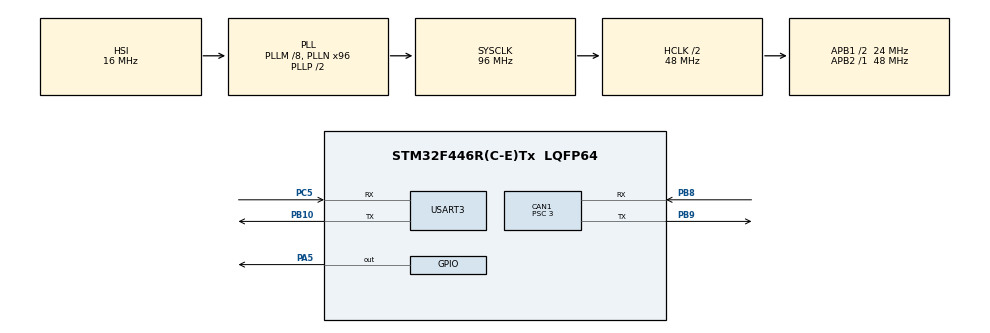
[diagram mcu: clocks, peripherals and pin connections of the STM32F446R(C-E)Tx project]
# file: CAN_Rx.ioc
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CAN1.ABOM=ENABLE
CAN1.AWUM=ENABLE
CAN1.BS1=CAN_BS1_13TQ
CAN1.BS2=CAN_BS2_2TQ
CAN1.CalculateBaudRate=500000
CAN1.CalculateTimeBit=2000
CAN1.CalculateTimeQuantum=125.0
CAN1.NART=ENABLE
CAN1.Prescaler=3
CAN1.TXFP=ENABLE
Mcu.Family=STM32F4
Mcu.Name=STM32F446R(C-E)Tx
Mcu.Package=LQFP64
NVIC.CAN1_RX0_IRQn=true\:0\:0\:false\:false\:true\:true\:true\:true
NVIC.PriorityGroup=NVIC_PRIORITYGROUP_0
PA2.Signal=USART2_TX
PA3.Signal=USART2_RX
PA5.Signal=GPIO_Output
PB10.Mode=Asynchronous
PB10.Signal=USART3_TX
PB8.Mode=CAN_Activate
PB8.Signal=CAN1_RX
PB9.Mode=CAN_Activate
PB9.Signal=CAN1_TX
PC5.Mode=Asynchronous
PC5.Signal=USART3_RX
PH0-OSC_IN.Mode=HSE-External-Oscillator
PH0-OSC_IN.Signal=RCC_OSC_IN
PH1-OSC_OUT.Mode=HSE-External-Oscillator
PH1-OSC_OUT.Signal=RCC_OSC_OUT
ProjectManager.HeapSize=0x200
ProjectManager.StackSize=0x400
ProjectManager.TargetToolchain=STM32CubeIDE
RCC.48MHZClocksFreq_Value=84000000
RCC.AHBCLKDivider=RCC_SYSCLK_DIV2
RCC.AHBFreq_Value=48000000
RCC.APB1CLKDivider=RCC_HCLK_DIV2
RCC.APB1Freq_Value=24000000
RCC.APB1TimFreq_Value=48000000
RCC.APB2Freq_Value=48000000
RCC.APB2TimFreq_Value=48000000
RCC.CortexFreq_Value=48000000
RCC.FLatency-AdvancedSettings=FLASH_LATENCY_1
RCC.HCLKFreq_Value=48000000
RCC.HSE_VALUE=8000000
RCC.HSI_VALUE=16000000
RCC.PLLM=8
RCC.PLLN=96
RCC.SYSCLKFreq_VALUE=96000000
RCC.SYSCLKSource=RCC_SYSCLKSOURCE_PLLCLK
RCC.USBFreq_Value=96000000
RCC.VCOOutputFreq_Value=192000000
USART3.VirtualMode=VM_ASYNC
board=NUCLEO-F446RE

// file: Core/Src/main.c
/* USER CODE BEGIN Header */
/**
  ******************************************************************************
  * @file           : main.c
  * @brief          : Main program body
  ******************************************************************************
  * @attention
  *
  * Copyright (c) 2025 STMicroelectronics.
  * All rights reserved.
  *
  * This software is licensed under terms that can be found in the LICENSE file
  * in the root directory of this software component.
  * If no LICENSE file comes with this software, it is provided AS-IS.
  *
  ******************************************************************************
  */
/* USER CODE END Header */
#include "main.h"

/* USER CODE BEGIN Includes */
#include<string.h>
#include<stdio.h>
/* USER CODE END Includes */

CAN_HandleTypeDef hcan1;

UART_HandleTypeDef huart3;

/* USER CODE BEGIN PV */
CAN_RxHeaderTypeDef RxHeader;
uint8_t RxData[8];
char msg[100];
/* USER CODE END PV */

void SystemClock_Config(void);
static void MX_GPIO_Init(void);
static void MX_CAN1_Init(void);
static void MX_USART3_UART_Init(void);

int main(void)
{

  /* MCU Configuration--------------------------------------------------------*/

  /* Reset of all peripherals, Initializes the Flash interface and the Systick. */
  HAL_Init();

  /* Configure the system clock */
  SystemClock_Config();

  /* Initialize all configured peripherals */
  MX_GPIO_Init();
  MX_CAN1_Init();
  MX_USART3_UART_Init();
  /* USER CODE BEGIN 2 */

  HAL_CAN_Start(&hcan1);
  HAL_CAN_ActivateNotification(&hcan1, CAN_IT_RX_FIFO0_MSG_PENDING);

  sprintf(msg, "CAN Reciver Initailized... \r\n");
  HAL_UART_Transmit(&huart3, (uint8_t *)msg, strlen(msg),HAL_MAX_DELAY);

  /* USER CODE END 2 */

  /* Infinite loop */
  while (1)
  {

  }
}

void SystemClock_Config(void)
{
  RCC_OscInitTypeDef RCC_OscInitStruct = {0};
  RCC_ClkInitTypeDef RCC_ClkInitStruct = {0};

  /** Configure the main internal regulator output voltage
  */
  __HAL_RCC_PWR_CLK_ENABLE();
  __HAL_PWR_VOLTAGESCALING_CONFIG(PWR_REGULATOR_VOLTAGE_SCALE3);

  /** Initializes the RCC Oscillators according to the specified parameters
  * in the RCC_OscInitTypeDef structure.
  */
  RCC_OscInitStruct.OscillatorType = RCC_OSCILLATORTYPE_HSI;
  RCC_OscInitStruct.HSIState = RCC_HSI_ON;
  RCC_OscInitStruct.HSICalibrationValue = RCC_HSICALIBRATION_DEFAULT;
  RCC_OscInitStruct.PLL.PLLState = RCC_PLL_ON;
  RCC_OscInitStruct.PLL.PLLSource = RCC_PLLSOURCE_HSI;
  RCC_OscInitStruct.PLL.PLLM = 8;
  RCC_OscInitStruct.PLL.PLLN = 96;
  RCC_OscInitStruct.PLL.PLLP = RCC_PLLP_DIV2;
  RCC_OscInitStruct.PLL.PLLQ = 2;
  RCC_OscInitStruct.PLL.PLLR = 2;
  if (HAL_RCC_OscConfig(&RCC_OscInitStruct) != HAL_OK)
  {
    Error_Handler();
  }

  /** Initializes the CPU, AHB and APB buses clocks
  */
  RCC_ClkInitStruct.ClockType = RCC_CLOCKTYPE_HCLK|RCC_CLOCKTYPE_SYSCLK
                              |RCC_CLOCKTYPE_PCLK1|RCC_CLOCKTYPE_PCLK2;
  RCC_ClkInitStruct.SYSCLKSource = RCC_SYSCLKSOURCE_PLLCLK;
  RCC_ClkInitStruct.AHBCLKDivider = RCC_SYSCLK_DIV2;
  RCC_ClkInitStruct.APB1CLKDivider = RCC_HCLK_DIV2;
  RCC_ClkInitStruct.APB2CLKDivider = RCC_HCLK_DIV1;

  if (HAL_RCC_ClockConfig(&RCC_ClkInitStruct, FLASH_LATENCY_1) != HAL_OK)
  {
    Error_Handler();
  }
}

static void MX_CAN1_Init(void)
{

  hcan1.Instance = CAN1;
  hcan1.Init.Prescaler = 3;
  hcan1.Init.Mode = CAN_MODE_NORMAL;
  hcan1.Init.SyncJumpWidth = CAN_SJW_1TQ;
  hcan1.Init.TimeSeg1 = CAN_BS1_13TQ;
  hcan1.Init.TimeSeg2 = CAN_BS2_2TQ;
  hcan1.Init.TimeTriggeredMode = DISABLE;
  hcan1.Init.AutoBusOff = ENABLE;
  hcan1.Init.AutoWakeUp = ENABLE;
  hcan1.Init.AutoRetransmission = ENABLE;
  hcan1.Init.ReceiveFifoLocked = DISABLE;
  hcan1.Init.TransmitFifoPriority = ENABLE;
  if (HAL_CAN_Init(&hcan1) != HAL_OK)
  {
    Error_Handler();
  }
  /* USER CODE BEGIN CAN1_Init 2 */

  CAN_FilterTypeDef filterConfig;
  filterConfig.FilterActivation = ENABLE;
  filterConfig.FilterBank = 0;
  filterConfig.FilterFIFOAssignment = CAN_FILTER_FIFO0;
  filterConfig.FilterIdHigh = 0x0000;
  filterConfig.FilterIdLow = 0x0000;
  filterConfig.FilterMaskIdHigh = 0x0000;
  filterConfig.FilterMaskIdLow = 0x0000;
  filterConfig.FilterMode = CAN_FILTERMODE_IDMASK;
  filterConfig.FilterScale = CAN_FILTERSCALE_32BIT;

  if( HAL_CAN_ConfigFilter(&hcan1, &filterConfig) != HAL_OK)
	  Error_Handler();
  /* USER CODE END CAN1_Init 2 */

}

static void MX_USART3_UART_Init(void)
{

  huart3.Instance = USART3;
  huart3.Init.BaudRate = 115200;
  huart3.Init.WordLength = UART_WORDLENGTH_8B;
  huart3.Init.StopBits = UART_STOPBITS_1;
  huart3.Init.Parity = UART_PARITY_NONE;
  huart3.Init.Mode = UART_MODE_TX_RX;
  huart3.Init.HwFlowCtl = UART_HWCONTROL_NONE;
  huart3.Init.OverSampling = UART_OVERSAMPLING_16;
  if (HAL_UART_Init(&huart3) != HAL_OK)
  {
    Error_Handler();
  }

}

static void MX_GPIO_Init(void)
{
  GPIO_InitTypeDef GPIO_InitStruct = {0};

  /* GPIO Ports Clock Enable */
  __HAL_RCC_GPIOH_CLK_ENABLE();
  __HAL_RCC_GPIOA_CLK_ENABLE();
  __HAL_RCC_GPIOC_CLK_ENABLE();
  __HAL_RCC_GPIOB_CLK_ENABLE();

  /*Configure GPIO pin Output Level */
  HAL_GPIO_WritePin(GPIOA, GPIO_PIN_5, GPIO_PIN_RESET);

  /*Configure GPIO pins : PA2 PA3 */
  GPIO_InitStruct.Pin = GPIO_PIN_2|GPIO_PIN_3;
  GPIO_InitStruct.Mode = GPIO_MODE_AF_PP;
  GPIO_InitStruct.Pull = GPIO_NOPULL;
  GPIO_InitStruct.Speed = GPIO_SPEED_FREQ_VERY_HIGH;
  GPIO_InitStruct.Alternate = GPIO_AF7_USART2;
  HAL_GPIO_Init(GPIOA, &GPIO_InitStruct);

  /*Configure GPIO pin : PA5 */
  GPIO_InitStruct.Pin = GPIO_PIN_5;
  GPIO_InitStruct.Mode = GPIO_MODE_OUTPUT_PP;
  GPIO_InitStruct.Pull = GPIO_NOPULL;
  GPIO_InitStruct.Speed = GPIO_SPEED_FREQ_LOW;
  HAL_GPIO_Init(GPIOA, &GPIO_InitStruct);

}

/* USER CODE BEGIN 4 */
CAN_RxHeaderTypeDef RxHeader;
uint8_t RxData[8];

void HAL_CAN_RxFifo0MsgPendingCallback(CAN_HandleTypeDef *hcan)
{
	HAL_CAN_GetRxMessage(hcan, CAN_RX_FIFO0, &RxHeader, RxData);

	if (RxHeader.StdId == 0x0A9 && RxHeader.IDE == CAN_ID_STD)
	{
	HAL_GPIO_TogglePin(GPIOA, GPIO_PIN_5);

	sprintf(msg, "RX ID: 0x%03X DLC: %d Data: ", RxHeader.StdId, RxHeader.DLC);
	HAL_UART_Transmit(&huart3, (uint8_t *) msg, strlen(msg), HAL_MAX_DELAY);

	for(int i =0 ; i<RxHeader.DLC ; i++)
	{
		sprintf(msg, "%02X", RxData[i]);
		HAL_UART_Transmit(&huart3, (uint8_t *)msg, strlen(msg), HAL_MAX_DELAY);
	}
	sprintf(msg, "\r\n");
	HAL_UART_Transmit(&huart3, (uint8_t *)msg, strlen(msg), HAL_MAX_DELAY);
}
}
/* USER CODE END 4 */

void Error_Handler(void)
{
  __disable_irq();
  while (1)
  {
  }
}
